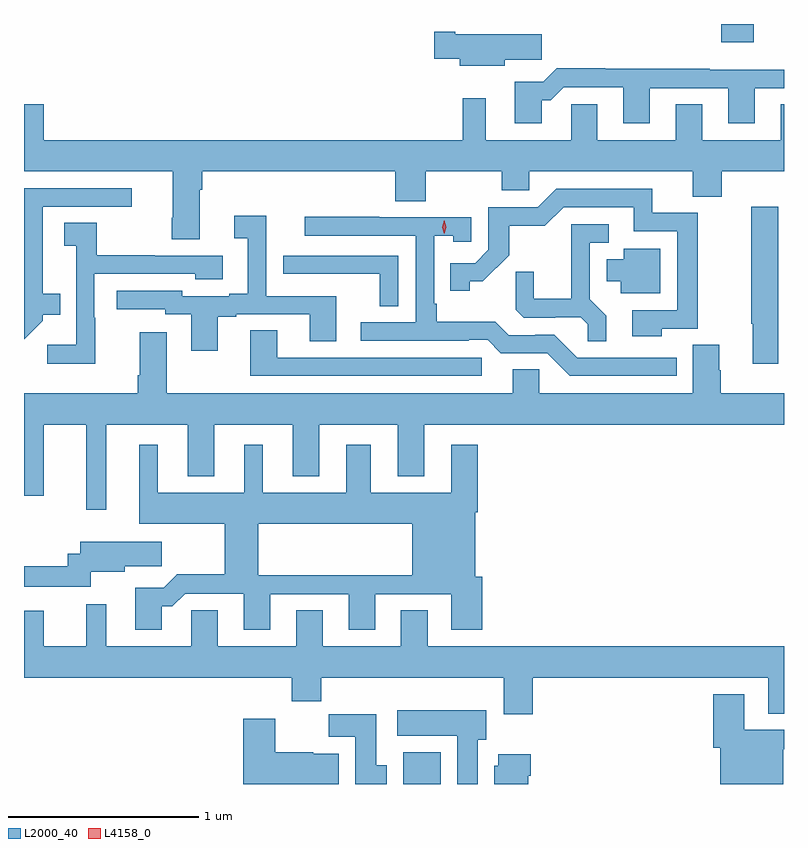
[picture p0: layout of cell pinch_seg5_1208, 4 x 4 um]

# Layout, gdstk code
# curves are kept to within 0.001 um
import gdstk
lib = gdstk.Library(unit=1e-6, precision=1e-09)
def R(c, l, rs):  # rectangles x0, y0, x1, y1
    for r in rs: c.add(gdstk.rectangle(r[:2], r[2:], *l))
def P(c, l, *ps):  # polygons
    for p in ps: c.add(gdstk.Polygon(p, *l))
L2000_40 = (2000, 40)
L4158_0 = (4158, 0)

pinch_seg5_1208 = lib.new_cell('pinch_seg5_1208')
R(pinch_seg5_1208, L2000_40, [(442.787,893.496,442.984,893.662), (444.461,897.399,444.631,897.496)])
P(pinch_seg5_1208, L2000_40, [(443.32,897.307),(443.515,897.307),(443.515,897.442),(443.062,897.442),(443.062,897.455),(442.95,897.455),(442.95,897.313),(443.084,897.313),(443.084,897.275),(443.32,897.275)],
  [(443.515,897.095),(443.564,897.095),(443.631,897.162),(443.945,897.162),(443.945,896.973),(444.085,896.973),(444.085,897.159),(444.497,897.159),(444.497,896.973),(444.637,896.973),(444.637,897.159),(444.791,897.159),(444.791,897.256),(444.401,897.256),(444.401,897.26),(443.849,897.26),(443.849,897.263),(443.594,897.263),(443.524,897.193),(443.375,897.193),(443.375,896.973),(443.515,896.973)],
  [(441.715,896.624),(441.728,896.624),(441.728,896.72),(442.745,896.72),(442.745,896.563),(442.905,896.563),(442.905,896.72),(443.305,896.72),(443.305,896.622),(443.451,896.622),(443.451,896.72),(444.311,896.72),(444.311,896.587),(444.464,896.587),(444.464,896.72),(444.791,896.72),(444.791,897.074),(444.773,897.074),(444.773,896.884),(444.361,896.884),(444.361,897.074),(444.221,897.074),(444.221,896.884),(443.809,896.884),(443.809,897.074),(443.67,897.074),(443.67,896.884),(443.221,896.884),(443.221,897.106),(443.1,897.106),(443.1,896.884),(440.896,896.884),(440.896,897.073),(440.791,897.073),(440.791,896.72),(441.575,896.72),(441.575,896.476),(441.568,896.476),(441.568,896.364),(441.715,896.364)],
  [(440.889,895.935),(440.889,895.967),(440.981,895.967),(440.981,896.077),(440.89,896.077),(440.89,896.535),(441.358,896.535),(441.358,896.631),(440.793,896.631),(440.793,895.989),(440.791,895.987),(440.791,895.837)],
  [(444.147,895.893),(444.337,895.893),(444.337,896.502),(444.098,896.502),(444.098,896.628),(443.592,896.628),(443.496,896.532),(443.235,896.532),(443.235,896.307),(443.166,896.238),(443.035,896.238),(443.035,896.091),(443.136,896.091),(443.136,896.141),(443.206,896.141),(443.344,896.278),(443.344,896.434),(443.533,896.434),(443.631,896.532),(443.999,896.532),(443.999,896.406),(444.228,896.406),(444.228,895.989),(443.991,895.989),(443.991,895.853),(444.147,895.853)],
  [(444.76,896.533),(444.619,896.533),(444.619,895.919),(444.626,895.919),(444.626,895.707),(444.76,895.707)],
  [(441.811,895.956),(441.907,895.956),(441.907,895.968),(442.295,895.968),(442.295,895.825),(442.435,895.825),(442.435,896.064),(442.065,896.064),(442.065,896.488),(441.897,896.488),(441.897,896.368),(441.968,896.368),(441.968,896.077),(441.872,896.077),(441.872,896.064),(441.624,896.064),(441.624,896.091),(441.279,896.091),(441.279,895.995),(441.534,895.995),(441.534,895.968),(441.671,895.968),(441.671,895.776),(441.811,895.776)],
  [(444.226,895.74),(443.703,895.74),(443.583,895.86),(443.482,895.86),(443.482,895.857),(443.343,895.857),(443.27,895.93),(442.963,895.93),(442.963,896.023),(442.95,896.023),(442.95,896.381),(443.049,896.381),(443.049,896.349),(443.145,896.349),(443.145,896.478),(442.661,896.478),(442.661,896.481),(442.269,896.481),(442.269,896.382),(442.854,896.382),(442.854,895.926),(442.563,895.926),(442.563,895.83),(443.132,895.83),(443.132,895.833),(443.232,895.833),(443.301,895.764),(443.544,895.764),(443.664,895.644),(444.226,895.644)],
  [(441.165,895.949),(441.162,895.949),(441.162,896.181),(441.693,896.181),(441.693,896.153),(441.838,896.153),(441.838,896.277),(441.479,896.277),(441.479,896.28),(441.175,896.28),(441.175,896.45),(441.003,896.45),(441.003,896.329),(441.066,896.329),(441.066,895.807),(440.913,895.807),(440.913,895.709),(441.165,895.709)],
  [(443.855,895.961),(443.769,896.047),(443.769,896.346),(443.869,896.346),(443.869,896.442),(443.672,896.442),(443.672,896.05),(443.474,896.05),(443.474,896.193),(443.38,896.193),(443.38,895.991),(443.421,895.95),(443.586,895.95),(443.586,895.953),(443.72,895.953),(443.757,895.916),(443.757,895.825),(443.855,895.825)],
  [(444.139,896.314),(443.948,896.314),(443.948,896.257),(443.858,896.257),(443.858,896.141),(443.933,896.141),(443.933,896.078),(444.139,896.078)],
  [(442.761,896.277),(442.155,896.277),(442.155,896.182),(442.267,896.182),(442.267,896.181),(442.663,896.181),(442.663,896.011),(442.761,896.011)],
  [(443.2,895.74),(442.123,895.74),(442.123,895.883),(441.983,895.883),(441.983,895.644),(443.2,895.644)],
  [(441.223,895.388),(441.653,895.388),(441.653,895.115),(441.793,895.115),(441.793,895.388),(442.205,895.388),(442.205,895.115),(442.345,895.115),(442.345,895.388),(442.757,895.388),(442.757,895.115),(442.897,895.115),(442.897,895.388),(444.791,895.388),(444.791,895.552),(444.459,895.552),(444.459,895.674),(444.451,895.674),(444.451,895.808),(444.311,895.808),(444.311,895.552),(443.502,895.552),(443.502,895.679),(443.363,895.679),(443.363,895.552),(441.541,895.552),(441.541,895.873),(441.401,895.873),(441.401,895.648),(441.389,895.648),(441.389,895.552),(440.791,895.552),(440.791,895.014),(440.896,895.014),(440.896,895.388),(441.119,895.388),(441.119,894.939),(441.223,894.939)],
  [(441.377,894.529),(441.377,894.309),(441.517,894.309),(441.517,894.431),(441.572,894.431),(441.639,894.498),(441.947,894.498),(441.947,894.309),(442.087,894.309),(442.087,894.495),(442.499,894.495),(442.499,894.309),(442.639,894.309),(442.639,894.495),(443.039,894.495),(443.039,894.309),(443.204,894.309),(443.204,894.588),(443.167,894.588),(443.167,894.926),(443.18,894.926),(443.18,895.282),(443.039,895.282),(443.039,895.03),(442.615,895.03),(442.615,895.282),(442.487,895.282),(442.487,895.03),(442.048,895.03),(442.048,895.282),(441.95,895.282),(441.95,895.03),(441.496,895.03),(441.496,895.282),(441.398,895.282),(441.398,894.866),(441.847,894.866),(441.847,894.599),(441.596,894.599),(441.593,894.596),(442.025,894.596),(442.025,894.866),(442.835,894.866),(442.835,894.596),(441.593,894.596),(441.526,894.529)],
  [(441.141,894.612),(441.322,894.612),(441.322,894.643),(441.517,894.643),(441.517,894.772),(441.086,894.772),(441.086,894.708),(441.022,894.708),(441.022,894.643),(440.791,894.643),(440.791,894.534),(441.141,894.534)],
  [(443.468,894.056),(444.707,894.056),(444.707,893.866),(444.791,893.866),(444.791,894.22),(442.915,894.22),(442.915,894.41),(442.775,894.41),(442.775,894.22),(442.363,894.22),(442.363,894.41),(442.223,894.41),(442.223,894.22),(441.811,894.22),(441.811,894.41),(441.672,894.41),(441.672,894.22),(441.223,894.22),(441.223,894.442),(441.119,894.442),(441.119,894.22),(440.896,894.22),(440.896,894.409),(440.791,894.409),(440.791,894.056),(442.199,894.056),(442.199,893.932),(442.355,893.932),(442.355,894.056),(443.315,894.056),(443.315,893.862),(443.468,893.862)],
  [(444.787,893.68),(444.791,893.68),(444.791,893.781),(444.583,893.781),(444.583,893.968),(444.419,893.968),(444.419,893.688),(444.455,893.688),(444.455,893.496),(444.787,893.496)],
  [(443.179,893.73),(443.224,893.73),(443.224,893.884),(442.755,893.884),(442.755,893.75),(443.072,893.75),(443.072,893.496),(443.179,893.496)],
  [(442.699,893.596),(442.645,893.596),(442.645,893.863),(442.396,893.863),(442.396,893.744),(442.535,893.744),(442.535,893.496),(442.699,893.496)],
  [(442.447,893.656),(442.314,893.656),(442.314,893.662),(442.114,893.662),(442.114,893.839),(441.944,893.839),(441.944,893.496),(442.447,893.496)],
  [(443.446,893.54),(443.459,893.54),(443.459,893.653),(443.288,893.653),(443.288,893.592),(443.267,893.592),(443.267,893.496),(443.446,893.496)])
P(pinch_seg5_1208, L4158_0, [(443.002,896.391),(443.002,896.391),(442.993,896.427),(443.003,896.462),(443.003,896.463),(443.003,896.462),(443.013,896.427),(443.002,896.391)])

lib.write_gds('pinch_seg5_1208.gds')
